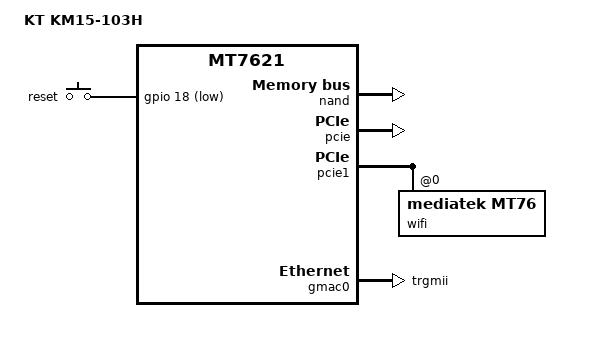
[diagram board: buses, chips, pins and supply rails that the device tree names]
// SPDX-License-Identifier: GPL-2.0-or-later OR MIT

#include "mt7621.dtsi"

#include <dt-bindings/gpio/gpio.h>
#include <dt-bindings/input/input.h>

/ {
	compatible = "kt,km15-103h", "mediatek,mt7621-soc";
	model = "KT KM15-103H";

	aliases {
		label-mac-device = &gmac0;
	};

	chosen {
		bootargs = "console=ttyS0,115200";
	};

	keys {
		compatible = "gpio-keys-polled";
		poll-interval = <20>;

		reset {
			label = "reset";
			gpios = <&gpio 18 GPIO_ACTIVE_LOW>;
			linux,code = <KEY_RESTART>;
		};
	};
};

&nand {
	status = "okay";

	mediatek,nmbm;
	mediatek,bmt-max-ratio = <1>;
	mediatek,bmt-max-reserved-blocks = <64>;
	mediatek,bmt-remap-range = <0x0 0x7800000>;

	partitions {
		compatible = "fixed-partitions";
		#address-cells = <1>;
		#size-cells = <1>;

		partition@0 {
			label = "bootloader";
			reg = <0x0 0x80000>;
			read-only;
		};

		partition@80000 {
			label = "config";
			reg = <0x80000 0x80000>;
		};

		partition@100000 {
			label = "factory";
			reg = <0x100000 0x80000>;
			read-only;

			nvmem-layout {
				compatible = "fixed-layout";
				#address-cells = <1>;
				#size-cells = <1>;

				eeprom_factory_0: eeprom@0 {
					reg = <0x0 0xe00>;
				};

				precal_factory_e10: precal@e10 {
					reg = <0xe10 0x19c10>;
				};

				macaddr_factory_3fff4: macaddr@3fff4 {
					reg = <0x3fff4 0x6>;
				};

				macaddr_factory_3fffa: macaddr@3fffa {
					reg = <0x3fffa 0x6>;
				};
			};
		};

		partition@180000 {
			compatible = "denx,fit";
			label = "firmware";
			reg = <0x180000 0x3000000>;
		};

		partition@3180000 {
			label = "firmware2";
			reg = <0x3180000 0x3000000>;
		};

		partition@6180000 {
			label = "rootdata";
			reg = <0x6180000 0x200000>;
		};

		partition@6380000 {
			label = "userdata";
			reg = <0x6380000 0x1480000>;
		};

		/* Last 8 MiB are reserved for NMBM metadata. */
	};
};

&pcie {
	status = "okay";
};

&pcie1 {
	wifi@0,0 {
		compatible = "mediatek,mt76";
		reg = <0x0000 0 0 0 0>;
		nvmem-cells = <&eeprom_factory_0>, <&precal_factory_e10>;
		nvmem-cell-names = "eeprom", "precal";
		mediatek,disable-radar-background;
	};
};

&gmac0 {
	phy-mode = "trgmii";
	nvmem-cells = <&macaddr_factory_3fff4>;
	nvmem-cell-names = "mac-address";
};

&switch0 {
	ports {
		port@0 {
			status = "okay";
			label = "wan";
			nvmem-cells = <&macaddr_factory_3fffa>;
			nvmem-cell-names = "mac-address";
		};

		port@1 {
			status = "okay";
			label = "lan1";
		};

		port@2 {
			status = "okay";
			label = "lan2";
		};

		port@3 {
			status = "okay";
			label = "lan3";
		};

		port@4 {
			status = "okay";
			label = "lan4";
		};

		port@6 {
			phy-mode = "trgmii";
		};
	};
};

&state_default {
	gpio {
		groups = "i2c", "uart2", "uart3", "jtag", "wdt";
		function = "gpio";
	};
};
